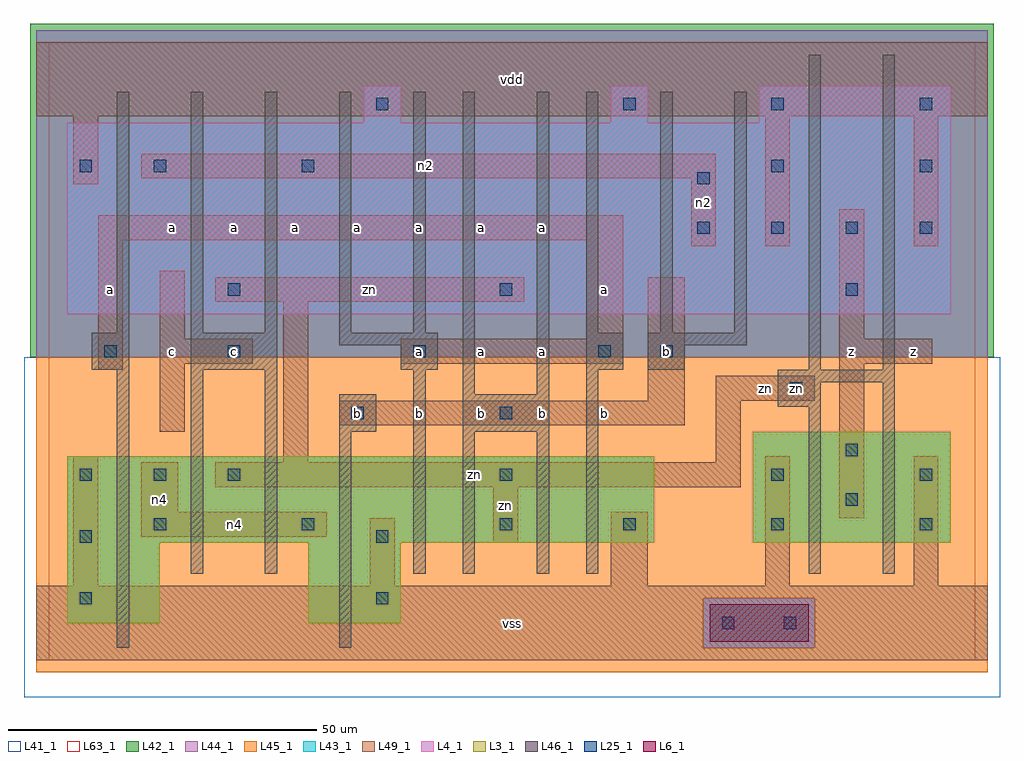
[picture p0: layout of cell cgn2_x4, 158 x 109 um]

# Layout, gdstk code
import gdstk
lib = gdstk.Library(unit=1e-6, precision=1e-09)
def R(c, l, rs):  # rectangles x0, y0, x1, y1
    for r in rs: c.add(gdstk.rectangle(r[:2], r[2:], *l))
def A(c, l, x, y, w, h, nx, ny, dx, dy):  # array of equal rectangles
    R(c, l, [(x+i*dx, y+j*dy, x+i*dx+w, y+j*dy+h) for i in range(nx) for j in range(ny)])
L3_1 = (3, 1)
L4_1 = (4, 1)
L6_1 = (6, 1)
L25_1 = (25, 1)
L41_1 = (41, 1)
L42_1 = (42, 1)
L43_1 = (43, 1)
L44_1 = (44, 1)
L45_1 = (45, 1)
L46_1 = (46, 1)
L49_1 = (49, 1)
L63_1 = (63, 1)

cgn2_x4 = lib.new_cell('cgn2_x4')
R(cgn2_x4, L3_1, [(3,6,18,19), (42,6,57,19), (3,19,98,33), (114,19,146,37)])
R(cgn2_x4, L4_1, [(3,56,146,87), (51,87,57,93), (91,87,97,93), (115,87,146,93)])
R(cgn2_x4, L6_1, [(107,3,123,9)])
A(cgn2_x4, L25_1, 93, 21, 2, 2, 3, 2, 24, 68)
A(cgn2_x4, L25_1, 5, 29, 2, 2, 3, 1, 12, 0)
A(cgn2_x4, L25_1, 29, 49, 2, 2, 3, 1, 30, 0)
A(cgn2_x4, L25_1, 105, 69, 2, 2, 4, 1, 12, 0)
R(cgn2_x4, L25_1, [(109,5,111,7), (119,5,121,7), (5,9,7,11), (53,9,55,11), (5,19,7,21), (53,19,55,21), (17,21,19,23), (41,21,43,23), (73,21,75,23), (129,25,131,27), (73,29,75,31), (117,29,119,31), (141,29,143,31), (129,33,131,35), (49,39,51,41), (73,39,75,41), (120,43,122,45), (9,49,11,51), (99,49,101,51), (29,59,31,61), (73,59,75,61), (129,59,131,61), (105,77,107,79), (5,79,7,81), (17,79,19,81), (41,79,43,81), (117,79,119,81), (141,79,143,81), (53,89,55,91)])
R(cgn2_x4, L41_1, [(-4,-6,154,49), (-3,-3,153,49)])
R(cgn2_x4, L42_1, [(-3,49,153,103)])
R(cgn2_x4, L43_1, [(107,3,123,9), (3,6,18,19), (42,6,57,19), (3,19,98,33), (114,19,146,37), (3,56,146,87), (51,87,57,93), (91,87,97,93), (115,87,146,93)])
R(cgn2_x4, L44_1, [(106,2,124,10), (-2,49,152,102)])
R(cgn2_x4, L45_1, [(-2,-2,152,2), (-2,2,106,10), (124,2,152,10), (-2,10,152,49)])
A(cgn2_x4, L46_1, 11, 53, 2, 39, 5, 1, 12, 0)
A(cgn2_x4, L46_1, 87, 53, 2, 39, 3, 1, 12, 0)
R(cgn2_x4, L46_1, [(11,2,13,47), (47,2,49,37), (23,14,25,47), (35,14,37,47), (59,14,61,47), (67,14,69,37), (79,14,81,37), (87,14,89,47), (123,14,125,41), (135,14,137,45), (47,37,53,43), (67,37,81,43), (118,41,125,45), (67,43,69,92), (79,43,81,92), (118,45,137,47), (7,47,13,53), (23,47,37,53), (57,47,63,51), (87,47,93,53), (97,47,103,51), (123,47,125,98), (135,47,137,98), (47,51,63,53), (97,51,113,53)])
R(cgn2_x4, L49_1, [(-2,0,152,12), (4,12,8,33), (52,12,56,23), (91,12,97,24), (116,12,120,33), (140,12,144,33), (72,19,76,28), (15,20,45,24), (128,23,132,48), (15,24,21,32), (27,28,112,32), (38,32,42,58), (108,32,112,42), (18,37,22,48), (47,38,103,42), (97,42,103,62), (108,42,124,46), (8,47,12,68), (18,48,33,52), (57,48,93,52), (128,48,143,52), (18,52,22,63), (87,52,93,68), (128,52,132,73), (27,58,77,62), (104,67,108,78), (116,67,120,88), (140,67,144,88), (8,68,93,72), (4,77,8,88), (15,78,108,82), (-2,88,152,100)])
R(cgn2_x4, L63_1, [(0,0,150,100)])
cgn2_x4.add(gdstk.Label('zn', (121,44), layer=49, texttype=1))
cgn2_x4.add(gdstk.Label('n4', (18,26), layer=49, texttype=1))
cgn2_x4.add(gdstk.Label('c', (20,50), layer=49, texttype=1))
cgn2_x4.add(gdstk.Label('c', (20,50), layer=49, texttype=1))
cgn2_x4.add(gdstk.Label('a', (10,60), layer=49, texttype=1))
cgn2_x4.add(gdstk.Label('a', (10,60), layer=49, texttype=1))
cgn2_x4.add(gdstk.Label('a', (20,70), layer=49, texttype=1))
cgn2_x4.add(gdstk.Label('a', (20,70), layer=49, texttype=1))
cgn2_x4.add(gdstk.Label('n4', (30,22), layer=49, texttype=1))
cgn2_x4.add(gdstk.Label('b', (50,40), layer=49, texttype=1))
cgn2_x4.add(gdstk.Label('b', (50,40), layer=49, texttype=1))
cgn2_x4.add(gdstk.Label('c', (30,50), layer=49, texttype=1))
cgn2_x4.add(gdstk.Label('c', (30,50), layer=49, texttype=1))
cgn2_x4.add(gdstk.Label('a', (30,70), layer=49, texttype=1))
cgn2_x4.add(gdstk.Label('a', (30,70), layer=49, texttype=1))
cgn2_x4.add(gdstk.Label('a', (40,70), layer=49, texttype=1))
cgn2_x4.add(gdstk.Label('a', (50,70), layer=49, texttype=1))
cgn2_x4.add(gdstk.Label('a', (40,70), layer=49, texttype=1))
cgn2_x4.add(gdstk.Label('a', (50,70), layer=49, texttype=1))
cgn2_x4.add(gdstk.Label('vss', (75,6), layer=49, texttype=1))
cgn2_x4.add(gdstk.Label('vss', (75,6), layer=49, texttype=1))
cgn2_x4.add(gdstk.Label('zn', (74,25), layer=49, texttype=1))
cgn2_x4.add(gdstk.Label('b', (70,40), layer=49, texttype=1))
cgn2_x4.add(gdstk.Label('b', (80,40), layer=49, texttype=1))
cgn2_x4.add(gdstk.Label('b', (70,40), layer=49, texttype=1))
cgn2_x4.add(gdstk.Label('b', (80,40), layer=49, texttype=1))
cgn2_x4.add(gdstk.Label('b', (60,40), layer=49, texttype=1))
cgn2_x4.add(gdstk.Label('b', (60,40), layer=49, texttype=1))
cgn2_x4.add(gdstk.Label('a', (60,50), layer=49, texttype=1))
cgn2_x4.add(gdstk.Label('a', (60,50), layer=49, texttype=1))
cgn2_x4.add(gdstk.Label('a', (80,50), layer=49, texttype=1))
cgn2_x4.add(gdstk.Label('a', (70,50), layer=49, texttype=1))
cgn2_x4.add(gdstk.Label('a', (70,50), layer=49, texttype=1))
cgn2_x4.add(gdstk.Label('a', (80,50), layer=49, texttype=1))
cgn2_x4.add(gdstk.Label('zn', (52,60), layer=49, texttype=1))
cgn2_x4.add(gdstk.Label('a', (60,70), layer=49, texttype=1))
cgn2_x4.add(gdstk.Label('a', (60,70), layer=49, texttype=1))
cgn2_x4.add(gdstk.Label('a', (80,70), layer=49, texttype=1))
cgn2_x4.add(gdstk.Label('a', (70,70), layer=49, texttype=1))
cgn2_x4.add(gdstk.Label('a', (70,70), layer=49, texttype=1))
cgn2_x4.add(gdstk.Label('a', (80,70), layer=49, texttype=1))
cgn2_x4.add(gdstk.Label('vdd', (75,94), layer=49, texttype=1))
cgn2_x4.add(gdstk.Label('vdd', (75,94), layer=49, texttype=1))
cgn2_x4.add(gdstk.Label('zn', (69,30), layer=49, texttype=1))
cgn2_x4.add(gdstk.Label('b', (90,40), layer=49, texttype=1))
cgn2_x4.add(gdstk.Label('b', (90,40), layer=49, texttype=1))
cgn2_x4.add(gdstk.Label('b', (100,50), layer=49, texttype=1))
cgn2_x4.add(gdstk.Label('b', (100,50), layer=49, texttype=1))
cgn2_x4.add(gdstk.Label('a', (90,60), layer=49, texttype=1))
cgn2_x4.add(gdstk.Label('a', (90,60), layer=49, texttype=1))
cgn2_x4.add(gdstk.Label('n2', (106,74), layer=49, texttype=1))
cgn2_x4.add(gdstk.Label('n2', (61,80), layer=49, texttype=1))
cgn2_x4.add(gdstk.Label('zn', (116,44), layer=49, texttype=1))
cgn2_x4.add(gdstk.Label('z', (130,50), layer=49, texttype=1))
cgn2_x4.add(gdstk.Label('z', (140,50), layer=49, texttype=1))
cgn2_x4.add(gdstk.Label('z', (130,50), layer=49, texttype=1))
cgn2_x4.add(gdstk.Label('z', (140,50), layer=49, texttype=1))

lib.write_gds('cgn2_x4.gds')
